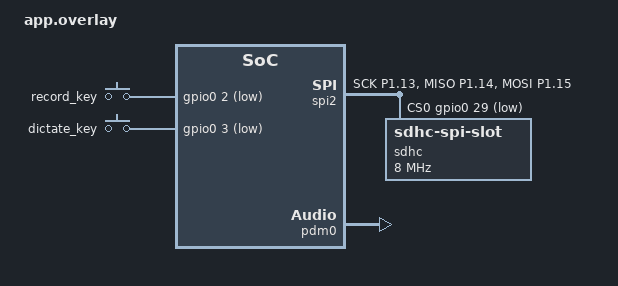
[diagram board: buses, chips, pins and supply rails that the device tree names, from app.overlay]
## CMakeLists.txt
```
cmake_minimum_required(VERSION 3.20.0)
find_package(Zephyr REQUIRED HINTS $ENV{ZEPHYR_BASE})
project(voicecard VERSION 1.0)
target_sources(app PRIVATE src/main.c src/storage.c src/codec.c src/link.c src/rtc.c)
```

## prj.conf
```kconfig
CONFIG_GPIO=y
CONFIG_I2C=y
CONFIG_SPI=y
CONFIG_AUDIO=y
CONFIG_AUDIO_DMIC=y
CONFIG_REGULATOR=y
CONFIG_DISK_ACCESS=y
CONFIG_DISK_DRIVER_SDMMC=y
CONFIG_SDMMC_STACK=y
CONFIG_FILE_SYSTEM=y
CONFIG_FAT_FILESYSTEM_ELM=y
CONFIG_FS_FATFS_LFN=y
CONFIG_FS_FATFS_MAX_LFN=128
CONFIG_FS_FATFS_EXFAT=n
CONFIG_FS_FATFS_NUM_FILES=10
CONFIG_FS_FATFS_NUM_DIRS=8
CONFIG_FS_FATFS_MKFS=n
CONFIG_USB_DEVICE_STACK=y
CONFIG_USB_CDC_ACM=y
CONFIG_SERIAL=y
CONFIG_UART_INTERRUPT_DRIVEN=y
CONFIG_CONSOLE=n
CONFIG_LOG=n
CONFIG_BT=y
CONFIG_BT_PERIPHERAL=y
CONFIG_BT_SMP=y
CONFIG_BT_SMP_APP_PAIRING_ACCEPT=y
CONFIG_BT_MAX_CONN=1
CONFIG_BT_MAX_PAIRED=1
CONFIG_BT_DEVICE_NAME="VoiceCard"
CONFIG_BT_L2CAP_TX_MTU=247
CONFIG_BT_BUF_ACL_RX_SIZE=251
CONFIG_BT_BUF_ACL_TX_SIZE=251
CONFIG_BT_CTLR_DATA_LENGTH_MAX=251
CONFIG_BT_GATT_CLIENT=y
CONFIG_FLASH=y
CONFIG_FLASH_MAP=y
CONFIG_NVS=y
CONFIG_SETTINGS=y
CONFIG_SETTINGS_NVS=y
CONFIG_BT_SETTINGS=y
CONFIG_HWINFO=y
CONFIG_CRC=y
CONFIG_BASE64=y
CONFIG_MBEDTLS=y
CONFIG_MBEDTLS_BUILTIN=y
CONFIG_MBEDTLS_SHA256=y
CONFIG_MAIN_STACK_SIZE=12288
CONFIG_SYSTEM_WORKQUEUE_STACK_SIZE=3072
CONFIG_HEAP_MEM_POOL_SIZE=8192
CONFIG_NEWLIB_LIBC=y
CONFIG_NEWLIB_LIBC_NANO=n
CONFIG_STATIC_INIT_GNU=y
CONFIG_UART_LINE_CTRL=y
CONFIG_REBOOT=y
CONFIG_ENTROPY_GENERATOR=y
CONFIG_TEST_RANDOM_GENERATOR=n
```

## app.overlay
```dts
#include <zephyr/dt-bindings/pinctrl/nrf-pinctrl.h>
#include <zephyr/dt-bindings/gpio/gpio.h>
/ {
  keys_voice {
    compatible = "gpio-keys";
    record_key: record { gpios = <&gpio0 2 (GPIO_PULL_UP | GPIO_ACTIVE_LOW)>; };
    dictate_key: dictate { gpios = <&gpio0 3 (GPIO_PULL_UP | GPIO_ACTIVE_LOW)>; };
  };
};
&pinctrl {
  vc_spi_default: vc_spi_default { group1 { psels = <NRF_PSEL(SPIM_SCK,1,13)>, <NRF_PSEL(SPIM_MISO,1,14)>, <NRF_PSEL(SPIM_MOSI,1,15)>; }; };
  vc_spi_sleep: vc_spi_sleep { group1 { psels = <NRF_PSEL(SPIM_SCK,1,13)>, <NRF_PSEL(SPIM_MISO,1,14)>, <NRF_PSEL(SPIM_MOSI,1,15)>; low-power-enable; }; };
};
&spi2 {
  compatible = "nordic,nrf-spim";
  status = "okay";
  pinctrl-0 = <&vc_spi_default>; pinctrl-1 = <&vc_spi_sleep>;
  pinctrl-names = "default", "sleep";
  cs-gpios = <&gpio0 29 GPIO_ACTIVE_LOW>;
  sdhc@0 {
    compatible = "zephyr,sdhc-spi-slot"; reg = <0>; status = "okay";
    spi-max-frequency = <8000000>;
    mmc { compatible = "zephyr,sdmmc-disk"; disk-name = "SD"; status = "okay"; };
  };
};
&pdm0 { status = "okay"; queue-size = <68>; };
&uart0 { status = "disabled"; };
```

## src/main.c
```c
#include "voice.h"
#include <zephyr/audio/dmic.h>
#include <zephyr/drivers/gpio.h>
#include <zephyr/drivers/regulator.h>
#include <zephyr/drivers/hwinfo.h>
#include <zephyr/random/random.h>
#include <stdio.h>
#include <stdlib.h>
#include <string.h>
char sid[17]="-",state[12]="IDLE",fault[25]="-",device_id[24];
uint64_t position;
bool linear,intent;
static bool recording,dictating,short_session;
static uint32_t utterance;
static int fill,index_ima;
static uint64_t cut_at;
static int64_t next_sync;
static int16_t samples[NSAMP];
/* Bare-metal newlib has no OS teardown or crt0 fini hook. */
__attribute__((weak)) void _fini(void) {}
static const struct device *mic=DEVICE_DT_GET(DT_NODELABEL(pdm0));
static const struct device *power=DEVICE_DT_GET(DT_PATH(msm261d3526hicpm_c_en));
static const struct gpio_dt_spec keys[]={GPIO_DT_SPEC_GET(DT_NODELABEL(record_key),gpios),GPIO_DT_SPEC_GET(DT_NODELABEL(dictate_key),gpios)};
static const struct gpio_dt_spec red=GPIO_DT_SPEC_GET(DT_ALIAS(led0),gpios),green=GPIO_DT_SPEC_GET(DT_ALIAS(led1),gpios);
K_MEM_SLAB_DEFINE_STATIC(slab,640,72,4);
static int phase(const char *s){strcpy(state,s);return store_state();}
static int capture_start(void){
    if(!device_is_ready(mic)||!device_is_ready(power)||regulator_enable(power))return -ENODEV;
    k_sleep(K_MSEC(10));
    struct pcm_stream_cfg stream={.pcm_rate=RATE,.pcm_width=16,.block_size=640,.mem_slab=&slab};
    struct dmic_cfg cfg={.io={.min_pdm_clk_freq=1000000,.max_pdm_clk_freq=3200000,.min_pdm_clk_dc=40,.max_pdm_clk_dc=60},.streams=&stream,
        .channel={.req_num_chan=1,.req_num_streams=1,.req_chan_map_lo=dmic_build_channel_map(0,0,PDM_CHAN_LEFT)}};
    int r=dmic_configure(mic,&cfg);if(!r)r=dmic_trigger(mic,DMIC_TRIGGER_START);if(r)regulator_disable(power);return r;
}
static void error_state(const char *reason){
    if(recording){
        dmic_trigger(mic,DMIC_TRIGGER_STOP);
        void *block;size_t length;
        while(!dmic_read(mic,0,&block,&length,0))k_mem_slab_free(&slab,block);
        regulator_disable(power);
    }
    if(dictating)close_utterance(utterance);
    recording=dictating=intent=false;strcpy(fault,reason);phase("ERROR");
    storage_detach();
    gpio_pin_set_dt(&green,0);gpio_pin_set_dt(&red,1);
}
static int start(bool resume){
    if(recording)return 0;
    bool retry=!strcmp(state,"ERROR");
    if(storage_mount()){error_state("DEVICE_UNAVAILABLE");return -1;}
    if(retry&&storage_recover()<0){error_state("CORRUPT");return -1;}
    strcpy(fault,"-");strcpy(state,"STARTING");intent=true;
    int r=storage_open(resume);
    if(r){error_state(r==-ENOSPC?"NO_SPACE":"WRITE_FAILED");return -1;}
    if(capture_start()){intent=false;storage_seal("mic_error");error_state("DEVICE_UNAVAILABLE");return -1;}
    recording=true;fill=index_ima=0;cut_at=position+RATE*300ULL;next_sync=k_uptime_get()+1000;
    if(phase("RECORDING")){error_state("WRITE_FAILED");return -1;}
    gpio_pin_set_dt(&red,0);gpio_pin_set_dt(&green,1);return 0;
}
static int flush_block(void){
    if(!fill)return 0;
    uint8_t data[ABYTES];index_ima=ima_encode(samples,fill,data,index_ima);
    uint64_t first=position;int r=storage_write(linear?(void*)samples:(void*)data,linear?fill*2:ABYTES,fill);
    if(!r&&dictating)link_audio(utterance,first,data);
    fill=0;return r;
}
static int consume(void *p,size_t n){
    int16_t *s=p;
    for(unsigned i=0;i<n/2;i++){
        samples[fill++]=s[i];
        if(fill==NSAMP){
            int r=flush_block();if(r)return r;
            if(position>=cut_at){r=storage_seal("segment");if(!r)r=storage_open(true);if(r)return r;cut_at=position+RATE*300ULL;}
        }
    }return 0;
}
static int stop(void){
    if(!recording)return 0;
    intent=false;phase("STOPPING");dmic_trigger(mic,DMIC_TRIGGER_STOP);
    void *p;size_t n;int r=0;
    while(!dmic_read(mic,0,&p,&n,0)){if(!r)r=consume(p,n);k_mem_slab_free(&slab,p);}
    if(!r)r=flush_block();if(dictating){close_utterance(utterance);link_end(utterance,position);}
    dictating=short_session=recording=false;regulator_disable(power);
    if(!r)r=storage_seal("stop");if(!r)r=phase("STOPPED");
    gpio_pin_set_dt(&green,0);if(r)error_state("WRITE_FAILED");return r;
}
static void key_event(int key,bool down){
    if(!key&&down){if(recording)stop();else start(false);}
    if(key&&down){
        if(dictating)return;short_session=!recording;if(short_session&&start(false))return;
        dictating=true;utterance=sys_rand32_get();archive_utterance(utterance);link_begin(utterance,position);
    }else if(key&&dictating&&!down){
        if(short_session){stop();return;}
        close_utterance(utterance);link_end(utterance,position);dictating=false;
    }
}
static char token[33];
static int64_t bind_until;
void physical_pair(void){bind_until=k_uptime_get()+30000;}
struct reply {char id[33],result[128],op[20];};
static struct reply history[16];static unsigned head;
void handle_cmd(bool usb,char *line,char *result,size_t size){
    char *save,*ver=strtok_r(line," ",&save),*id=strtok_r(NULL," ",&save),*auth=strtok_r(NULL," ",&save),*op=strtok_r(NULL," ",&save);
    char *a=strtok_r(NULL," ",&save),*b=strtok_r(NULL," ",&save);
    if(!op||!id||strlen(id)>32||strcmp(ver,"V1")){snprintf(result,size,"R - ERR INVALID");return;}
    int used=snprintf(result,size,"R %s ",id);char *out=result+used;size-=used;
    if(!strcmp(op,"pair")){
        if(!usb||bind_until<=k_uptime_get()||!a||strlen(a)!=32||strspn(a,"0123456789abcdef")!=32){strcpy(out,"ERR AUTH_REQUIRED");return;}
        if(secret_save(a)){strcpy(out,"ERR WRITE_FAILED");return;}
        strcpy(token,a);bind_until=0;link_rebind();strcpy(out,"OK bound");return;
    }
    if(!token[0]||strcmp(auth,token)){strcpy(out,"ERR AUTH_REQUIRED");return;}
    if(!strcmp(op,"start")||!strcmp(op,"stop")){
        for(int i=0;i<ARRAY_SIZE(history);i++)if(!strcmp(id,history[i].id)){
            strcpy(out,!strcmp(op,history[i].op)?history[i].result:"ERR INVALID");return;
        }
        int r=0;
        if(!strcmp(op,"stop")){if(!a||strcmp(a,sid)){strcpy(out,"ERR SESSION_MISMATCH");return;}r=stop();}
        else {if(!a||(strcmp(a,"ima")&&strcmp(a,"pcm16"))){strcpy(out,"ERR INVALID");return;}if(!recording)linear=!strcmp(a,"pcm16");r=start(false);}
        if(r)snprintf(out,size,"ERR %s",fault);else snprintf(out,size,"OK %s %s %lld",sid,state,(long long)clock_utc());
        struct reply *cache=&history[head++%ARRAY_SIZE(history)];strcpy(cache->id,id);strcpy(cache->op,op);strcpy(cache->result,out);return;
    }
    if(!strcmp(op,"status")){snprintf(out,size,"OK %s %s %s %llu %llu %lld %s",device_id,state,sid,(unsigned long long)position,(unsigned long long)storage_free(),(long long)clock_utc(),fault);return;}
    if(!strcmp(op,"time")){strcpy(out,a&&!clock_set(atoll(a))?"OK set":"ERR DEVICE_UNAVAILABLE");return;}
    if(!strcmp(op,"sub")){strcpy(out,"OK ima 16000 505");return;}
    if(!strcmp(op,"talk")||!strcmp(op,"block")){
        strcpy(out,"OK ");if(replay_op(op,a,b,out+3,size-3))strcpy(out,"ERR RANGE_UNAVAILABLE");return;
    }
    if(usb&&(!strcmp(op,"ls")||!strcmp(op,"get"))){strcpy(out,"OK ");if(file_op(op,a,b,out+3,size-3))strcpy(out,"ERR EXPORT_FAILED");return;}
    strcpy(out,"ERR INVALID");
}
int main(void){
    uint8_t id[8]={0};int len=hwinfo_get_device_id(id,sizeof(id));
    for(int i=0;i<len;i++)sprintf(device_id+2*i,"%02x",id[i]);
    for(int i=0;i<2;i++)gpio_pin_configure_dt(keys+i,GPIO_INPUT);
    gpio_pin_configure_dt(&green,GPIO_OUTPUT_INACTIVE);gpio_pin_configure_dt(&red,GPIO_OUTPUT_INACTIVE);
    if(storage_mount())error_state("DEVICE_UNAVAILABLE");
    else {int r=storage_recover();if(r<0)error_state("CORRUPT");else if(r>0)start(true);}
    link_init();secret_get(token,sizeof(token));
    unsigned stable=0,raw=0;int64_t change=0;bool chord=false;
    for(;;){
        unsigned now=gpio_pin_get_dt(keys)|(gpio_pin_get_dt(keys+1)<<1);
        if(now!=raw){raw=now;change=k_uptime_get();}
        if(raw!=stable&&k_uptime_get()-change>=40){
            if(raw==3){physical_pair();chord=true;}
            else if(!chord){for(int i=0;i<2;i++)if((raw^stable)&BIT(i))key_event(i,raw&BIT(i));}
            if(!raw)chord=false;stable=raw;
        }
        link_poll();
        if(!recording){k_sleep(K_MSEC(12));continue;}
        void *p;size_t n;int r=dmic_read(mic,0,&p,&n,100);
        if(r){error_state("DEVICE_UNAVAILABLE");continue;}
        r=consume(p,n);k_mem_slab_free(&slab,p);
        if(!r&&k_uptime_get()>=next_sync){r=storage_checkpoint();next_sync=k_uptime_get()+1000;}
        if(r)error_state(r==-ENOSPC?"NO_SPACE":"WRITE_FAILED");
    }
}
```

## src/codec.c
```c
#include "codec.h"
#include <string.h>
static const int steps[89]={7,8,9,10,11,12,13,14,16,17,19,21,23,25,28,31,34,37,41,45,50,55,60,66,73,80,88,97,107,118,130,143,157,173,190,209,230,253,279,307,337,371,408,449,494,544,598,658,724,796,876,963,1060,1166,1282,1411,1552,1707,1878,2066,2272,2499,2749,3024,3327,3660,4026,4428,4871,5358,5894,6484,7132,7845,8630,9493,10442,11487,12635,13899,15289,16818,18500,20350,22385,24623,27086,29794,32767};
static const int adjust[8]={-1,-1,-1,-1,2,4,6,8};
static int clip(int a,int lo,int hi){return a<lo?lo:a>hi?hi:a;}
static void le16(uint8_t *p,uint16_t n){p[0]=n;p[1]=n>>8;}
static void le32(uint8_t *p,uint32_t n){le16(p,n);le16(p+2,n>>16);}
int ima_encode(const int16_t *s,int count,uint8_t out[ABYTES],int ix){
    int pred=s[0]; le16(out,pred); out[2]=ix; out[3]=0;
    for(int i=1;i<NSAMP;i++){
        int delta=(int)s[i<count?i:count-1]-pred;
        int code=delta<0?8:0, step=steps[ix], diff=step>>3;
        if(delta<0)delta=-delta;
        for(int bit=4;bit;bit>>=1,step>>=1){
            if(delta>=step){delta-=step;diff+=step;code|=bit;}
        }
        pred=clip(pred+(code&8?-diff:diff),-32768,32767);
        ix=clip(ix+adjust[code&7],0,88);
        if(i&1)out[4+(i-1)/2]=code;else out[4+(i-1)/2]|=code<<4;
    }
    return ix;
}
size_t wav_header(uint8_t *p,int pcm,uint32_t bytes,uint32_t samples){
    size_t n=pcm?44:60; memset(p,0,n); memcpy(p,"RIFF",4); le32(p+4,bytes+n-8);
    memcpy(p+8,"WAVEfmt ",8);le32(p+16,pcm?16:20);le16(p+20,pcm?1:17);
    le16(p+22,1);le32(p+24,RATE);le32(p+28,pcm?RATE*2:8111);
    le16(p+32,pcm?2:ABYTES);le16(p+34,pcm?16:4);
    if(!pcm){le16(p+36,2);le16(p+38,NSAMP);memcpy(p+40,"fact",4);le32(p+44,4);le32(p+48,samples);}
    memcpy(p+n-8,"data",4);le32(p+n-4,bytes);return n;
}
```

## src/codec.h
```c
#pragma once
#include <stdint.h>
#include <stddef.h>
#define RATE 16000
#define NSAMP 505
#define ABYTES 256
int ima_encode(const int16_t *pcm, int count, unsigned char out[ABYTES], int index);
size_t wav_header(uint8_t *p, int pcm, uint32_t bytes, uint32_t samples);
```

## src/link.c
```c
#include "voice.h"
#include <zephyr/bluetooth/bluetooth.h>
#include <zephyr/bluetooth/conn.h>
#include <zephyr/bluetooth/gatt.h>
#include <zephyr/drivers/uart.h>
#include <zephyr/usb/usb_device.h>
#include <zephyr/settings/settings.h>
#include <zephyr/sys/crc.h>
#include <zephyr/sys/base64.h>
#include <zephyr/sys/ring_buffer.h>
#include <stdio.h>
#include <stdlib.h>
#include <string.h>
#define UUID(n) BT_UUID_DECLARE_128(BT_UUID_128_ENCODE(0x4cb30000+(n),0x7873,0x46d7,0x884a,0xb66c77636431ULL))
static const struct device *cdc=DEVICE_DT_GET(DT_NODELABEL(board_cdc_acm_uart));
static struct bt_conn *peer;
static atomic_t pair_deadline;
static enum bt_security_err accept_pair(struct bt_conn *c, const struct bt_conn_pairing_feat *const features){
    uint32_t deadline=(uint32_t)atomic_get(&pair_deadline);
    return deadline && (int32_t)(deadline-k_uptime_get_32())>0 ? BT_SECURITY_ERR_SUCCESS : BT_SECURITY_ERR_PAIR_NOT_ALLOWED;
}
static struct bt_conn_auth_cb auth_callbacks={.pairing_accept=accept_pair};
void link_rebind(void){
    bt_unpair(BT_ID_DEFAULT,BT_ADDR_LE_ANY);
    atomic_set(&pair_deadline,(atomic_val_t)(k_uptime_get_32()+120000));
}
static void paired(struct bt_conn *conn,bool bonded){atomic_clear(&pair_deadline);}
static struct bt_conn_auth_info_cb pair_info={.pairing_complete=paired};
static bool sub_usb,sub_ble;
K_MUTEX_DEFINE(peer_lock);
struct cmd {bool usb;char text[180];};
K_MSGQ_DEFINE(requests,sizeof(struct cmd),6,4);
struct parser {char line[180];size_t count;bool overflow;};
static struct parser parsers[2];
static void feed(bool usb,const uint8_t *p,size_t len){
    struct parser *s=&parsers[usb];
    for(size_t i=0;i<len;i++){
        if(p[i]=='\n'){if(!s->overflow&&s->count){struct cmd q={.usb=usb};memcpy(q.text,s->line,s->count);k_msgq_put(&requests,&q,K_NO_WAIT);}s->count=0;s->overflow=false;}
        else if(s->count<sizeof(s->line)-1)s->line[s->count++]=p[i];else s->overflow=true;
    }
}
static ssize_t control(struct bt_conn *c,const struct bt_gatt_attr *a,const void *b,uint16_t len,uint16_t off,uint8_t flags){
    if(off)return BT_GATT_ERR(BT_ATT_ERR_INVALID_OFFSET);feed(false,b,len);return len;
}
BT_GATT_SERVICE_DEFINE(service,BT_GATT_PRIMARY_SERVICE(UUID(0)),
    BT_GATT_CHARACTERISTIC(UUID(1),BT_GATT_CHRC_WRITE,BT_GATT_PERM_WRITE_ENCRYPT,NULL,control,NULL),
    BT_GATT_CHARACTERISTIC(UUID(2),BT_GATT_CHRC_NOTIFY,BT_GATT_PERM_NONE,NULL,NULL,NULL),
    BT_GATT_CCC(NULL,BT_GATT_PERM_READ_ENCRYPT|BT_GATT_PERM_WRITE_ENCRYPT));
static struct bt_data ads[]={BT_DATA_BYTES(BT_DATA_FLAGS,BT_LE_AD_GENERAL|BT_LE_AD_NO_BREDR),BT_DATA(BT_DATA_NAME_COMPLETE,"VoiceCard",9)};
static void advertise(struct k_work *w){bt_le_adv_start(BT_LE_ADV_CONN_FAST_1,ads,ARRAY_SIZE(ads),NULL,0);}
K_WORK_DEFINE(adv_work,advertise);
static void connected(struct bt_conn *c,uint8_t err){
    if(err)return;k_mutex_lock(&peer_lock,K_FOREVER);peer=bt_conn_ref(c);sub_ble=false;k_mutex_unlock(&peer_lock);
}
static void disconnected(struct bt_conn *c,uint8_t why){
    k_mutex_lock(&peer_lock,K_FOREVER);if(peer){bt_conn_unref(peer);peer=NULL;}sub_ble=false;memset(&parsers[0],0,sizeof(parsers[0]));k_mutex_unlock(&peer_lock);
}
static void recycled(void){k_work_submit(&adv_work);}
BT_CONN_CB_DEFINE(callbacks)={.connected=connected,.disconnected=disconnected,.recycled=recycled};
RING_BUF_DECLARE(tx,8192);
static void irq(const struct device *dev,void *unused){
    uart_irq_update(dev);
    if(uart_irq_rx_ready(dev)){uint8_t b[64];int n;while((n=uart_fifo_read(dev,b,sizeof(b)))>0)feed(true,b,n);}
    if(uart_irq_tx_ready(dev)){uint8_t *p;unsigned n=ring_buf_get_claim(&tx,&p,64);
        if(n){int sent=uart_fifo_fill(dev,p,n);ring_buf_get_finish(&tx,MAX(sent,0));}else uart_irq_tx_disable(dev);}
}
struct packet {bool usb;char data[1050];};
K_MSGQ_DEFINE(packets,sizeof(struct packet),8,4);
static void sender(void *a,void *b,void *d){
    struct packet pkt;
    for(;;){
        k_msgq_get(&packets,&pkt,K_FOREVER);size_t n=strlen(pkt.data);
        if(pkt.usb){unsigned key=irq_lock();if(ring_buf_space_get(&tx)>=n){ring_buf_put(&tx,pkt.data,n);uart_irq_tx_enable(cdc);}irq_unlock(key);continue;}
        k_mutex_lock(&peer_lock,K_FOREVER);struct bt_conn *c=peer?bt_conn_ref(peer):NULL;k_mutex_unlock(&peer_lock);
        if(c){size_t mtu=bt_gatt_get_mtu(c)-3;
            for(size_t i=0;i<n;i+=mtu)if(bt_gatt_notify(c,&service.attrs[4],pkt.data+i,MIN(mtu,n-i)))break;
            bt_conn_unref(c);
        }
    }
}
K_THREAD_DEFINE(tx_thread,3000,sender,NULL,NULL,NULL,5,0,0);
static void post(bool usb,const char *line){struct packet p={.usb=usb};snprintf(p.data,sizeof(p.data),"\n%s\n",line);k_msgq_put(&packets,&p,K_NO_WAIT);}
static int load_token(const char *key,size_t len,settings_read_cb read,void *arg,void *param){
    if(!key&&len==32)return read(arg,param,32)==32?0:-EIO;return 0;
}
int secret_get(char *s,size_t n){return settings_load_subtree_direct("voice/token",load_token,s);}
int secret_save(const char *s){sub_ble=sub_usb=false;return settings_save_one("voice/token",s,32);}
int link_init(void){
    int r=usb_enable(NULL);uart_irq_callback_user_data_set(cdc,irq,NULL);uart_irq_rx_enable(cdc);
    if(!bt_enable(NULL)){bt_conn_auth_cb_register(&auth_callbacks);bt_conn_auth_info_cb_register(&pair_info);settings_load();k_work_submit(&adv_work);}return r;
}
void link_poll(void){
    struct cmd q;char result[1024];uint32_t dtr=0;
    if(!uart_line_ctrl_get(cdc,UART_LINE_CTRL_DTR,&dtr)&&!dtr)sub_usb=false;
    if(k_msgq_get(&requests,&q,K_NO_WAIT))return;
    handle_cmd(q.usb,q.text,result,sizeof(result));
    if(strstr(result," OK ima 16000 505")){if(q.usb)sub_usb=true;else sub_ble=true;}
    post(q.usb,result);
}
void link_audio(uint32_t utt,uint64_t first,const uint8_t *data){
    if(!sub_usb&&!sub_ble)return;
    char line[465];size_t n;int k=snprintf(line,sizeof(line),"A %s %08x %llu %08x ",sid,utt,(unsigned long long)first,crc32_ieee(data,ABYTES));
    base64_encode(line+k,sizeof(line)-k,&n,data,ABYTES);line[k+n]=0;
    if(sub_usb)post(true,line);if(sub_ble)post(false,line);
}
void link_end(uint32_t utt,uint64_t first){
    char line[80];snprintf(line,sizeof(line),"E %s %08x %llu",sid,utt,(unsigned long long)first);
    if(sub_usb)post(true,line);if(sub_ble)post(false,line);
}
void link_begin(uint32_t utt,uint64_t first){
    char line[80];snprintf(line,sizeof(line),"B %s %08x %llu",sid,utt,(unsigned long long)first);
    if(sub_usb)post(true,line);if(sub_ble)post(false,line);
}
```

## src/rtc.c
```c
#include "voice.h"
#include <zephyr/drivers/i2c.h>
#include <zephyr/sys/timeutil.h>
#include <time.h>
static const struct device *bus=DEVICE_DT_GET(DT_NODELABEL(i2c1));
static int dec(int b){return (b>>4)*10+(b&15);}
static int bcd(int n){return ((n/10)<<4)+(n%10);}
int64_t clock_utc(void){
    uint8_t r[7];
    if(!device_is_ready(bus)||i2c_burst_read(bus,0x51,2,r,7)||(r[0]&128))return 0;
    struct tm t={.tm_sec=dec(r[0]&127),.tm_min=dec(r[1]&127),.tm_hour=dec(r[2]&63),.tm_mday=dec(r[3]&63),.tm_mon=dec(r[5]&31)-1,.tm_year=100+dec(r[6])};
    if(t.tm_year<124||t.tm_mon<0||t.tm_mon>11||t.tm_mday<1||t.tm_mday>31||t.tm_hour>23||t.tm_min>59||t.tm_sec>59)return 0;
    return timeutil_timegm64(&t);
}
int clock_set(int64_t epoch){
    if(epoch<1704067200LL||epoch>=4102444800LL)return -EINVAL;
    time_t tt=epoch;struct tm t;gmtime_r(&tt,&t);
    uint8_t r[]={2,bcd(t.tm_sec),bcd(t.tm_min),bcd(t.tm_hour),bcd(t.tm_mday),t.tm_wday,bcd(t.tm_mon+1),bcd(t.tm_year-100)};
    return i2c_write(bus,r,sizeof(r),0x51);
}
```

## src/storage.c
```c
#include "voice.h"
#include <zephyr/fs/fs.h>
#include <zephyr/storage/disk_access.h>
#include <zephyr/sys/crc.h>
#include <zephyr/sys/base64.h>
#include <zephyr/random/random.h>
#include <mbedtls/sha256.h>
#include <ff.h>
#include <errno.h>
#include <stdio.h>
#include <stdlib.h>
#include <string.h>
#include <time.h>
#include <ctype.h>
static FATFS fat;
static struct fs_mount_t mountpoint={.type=FS_FATFS,.mnt_point="/SD:",.fs_data=&fat,.flags=FS_MOUNT_FLAG_NO_FORMAT};
static struct fs_file_t wav;
static bool mounted,opened;
static uint8_t io[4096];
static char leased[PATHLEN];
static int64_t lease_until;
struct journal {
    uint32_t version,seq;
    char directory[80],id[17],phase[12],error[25];
    uint32_t part,bytes,samples,rolling;
    uint64_t first;
    int64_t utc;
    uint8_t pcm,want,pending;
    uint32_t crc;
};
static struct journal j;
/* The most recent push-to-talk ranges refer to the original WAV blocks. */
#define TALK_SLOTS 16
#define SEG_SAMPLES (((300U*RATE+NSAMP-1)/NSAMP)*NSAMP)
struct talk_range {
    char uid[26],dir[80];
    uint64_t begin,end,part_first;
    uint32_t part;
    bool pcm,closed;
};
static struct talk_range talks[TALK_SLOTS];
static unsigned talk_count;
void archive_utterance(uint32_t id){
    struct talk_range *t=&talks[talk_count++%TALK_SLOTS];
    snprintf(t->uid,sizeof(t->uid),"%s-%08x",sid,id);
    strcpy(t->dir,j.directory);
    t->begin=position;t->end=position;t->part_first=j.first;t->part=j.part;t->pcm=linear;t->closed=false;
}
void close_utterance(uint32_t id){
    if(talk_count){struct talk_range *t=&talks[(talk_count-1)%TALK_SLOTS];t->end=position;t->closed=true;}
}
int replay_op(const char *op,const char *uid,const char *sample,char *out,size_t cap){
    if(!talk_count)return -ENOENT;
    struct talk_range *t=NULL;
    if(!uid||!strcmp(uid,"latest"))t=&talks[(talk_count-1)%TALK_SLOTS];
    else for(unsigned i=0;i<TALK_SLOTS;i++)if(!strcmp(talks[i].uid,uid)){t=&talks[i];break;}
    if(!t)return -ENOENT;
    uint64_t end=t->closed?t->end:position;
    if(!strcmp(op,"talk")){
        snprintf(out,cap,"%s %llu %llu %u",t->uid,(unsigned long long)t->begin,(unsigned long long)end,t->closed);
        return 0;
    }
    if(!sample||!*sample||strspn(sample,"0123456789")!=strlen(sample))return -EINVAL;
    uint64_t pos=strtoull(sample,NULL,10);
    if(pos<t->begin||pos>=end||(pos-t->begin)%NSAMP)return -ERANGE;
    uint64_t relative=pos-t->part_first;
    unsigned part=t->part+relative/SEG_SAMPLES;
    uint32_t within=relative%SEG_SAMPLES;
    bool active=opened&&part==j.part&&!strcmp(t->dir,j.directory);
    char path[PATHLEN];snprintf(path,sizeof(path),"%s/%04u.%s",t->dir,part,active?"part":"wav");
    struct fs_file_t reader;fs_file_t_init(&reader);
    struct fs_file_t *f=active?&wav:&reader;
    off_t saved=0;
    if(active){saved=fs_tell(f);if(saved<0)return -EIO;}
    else if(fs_open(f,path,FS_O_READ))return -ENOENT;
    int16_t pcm[NSAMP];uint8_t encoded[ABYTES];
    unsigned count=MIN((uint64_t)NSAMP,end-pos);
    size_t len=t->pcm?2*count:ABYTES;
    off_t at=t->pcm?44+within*2:60+(within/NSAMP)*ABYTES;
    int r=fs_seek(f,at,FS_SEEK_SET);
    if(!r&&fs_read(f,t->pcm?(void*)pcm:(void*)encoded,len)!=(ssize_t)len)r=-EIO;
    if(active){if(fs_seek(f,saved,FS_SEEK_SET))r=-EIO;}else fs_close(f);
    if(r)return r;
    if(t->pcm)ima_encode(pcm,count,encoded,0);
    size_t n;int prefix=snprintf(out,cap,"%08x ",crc32_ieee(encoded,ABYTES));
    if(base64_encode(out+prefix,cap-prefix,&n,encoded,ABYTES))return -EIO;
    out[prefix+n]=0;return 0;
}
void storage_detach(void){
    if(opened){fs_close(&wav);opened=false;}
    if(mounted && !fs_unmount(&mountpoint))mounted=false;
    if(!mounted){memset(&j,0,sizeof(j));talk_count=0;memset(talks,0,sizeof(talks));}
}
static char pathname[PATHLEN];
static void path_for(char *p,const char *ext){snprintf(p,PATHLEN,"%s/%04u.%s",j.directory,j.part,ext);}
static int ensure_dir(char *s){
    struct fs_dirent e;
    if(!fs_stat(s,&e))return e.type==FS_DIR_ENTRY_DIR?0:-ENOTDIR;
    return fs_mkdir(s);
}
static int file_put(const char *p,const void *data,size_t n){
    struct fs_file_t f;fs_file_t_init(&f);
    int r=fs_open(&f,p,FS_O_CREATE|FS_O_WRITE|FS_O_TRUNC);if(r)return r;
    r=fs_write(&f,data,n)==n?fs_sync(&f):-EIO;int c=fs_close(&f);return r?r:c;
}
int store_state(void){
    if(!mounted)return -ENODEV;
    j.version=1;j.seq++;j.pcm=linear;j.want=intent;
    snprintf(j.phase,sizeof(j.phase),"%s",state);snprintf(j.error,sizeof(j.error),"%s",fault);
    j.crc=crc32_ieee((uint8_t*)&j,offsetof(struct journal,crc));
    return file_put((j.seq&1)?"/SD:/VC1.BIN":"/SD:/VC0.BIN",&j,sizeof(j));
}
int storage_mount(void){
    if(mounted)return 0;
    int r=fs_mount(&mountpoint);if(r)return r;
    mounted=true;fs_file_t_init(&wav);return ensure_dir(ROOT);
}
uint64_t storage_free(void){struct fs_statvfs s;return fs_statvfs("/SD:",&s)?0:(uint64_t)s.f_frsize*s.f_bfree;}
struct victim {char path[PATHLEN];int64_t end;};
/* A sealed segment has a small companion retention stamp. Use its end UTC,
   never FAT modification time. Bounded depth matches REC/YYYY/MM/DD/SID. */
static int oldest(const char *folder,int depth,int64_t cutoff,struct victim *v){
    if(depth>4)return 0;
    struct fs_dir_t d;struct fs_dirent e;fs_dir_t_init(&d);
    int r=fs_opendir(&d,folder);if(r)return r;
    while(!(r=fs_readdir(&d,&e))&&e.name[0]){
        char p[PATHLEN];if(snprintf(p,sizeof(p),"%s/%s",folder,e.name)>=(int)sizeof(p))continue;
        if(e.type==FS_DIR_ENTRY_DIR){if(strcmp(e.name,"UNSYNCED")){r=oldest(p,depth+1,cutoff,v);if(r)break;}continue;}
        char *ext=strrchr(p,'.');if(!ext||strcmp(ext,".end"))continue;
        struct fs_file_t f;fs_file_t_init(&f);int64_t end=0;
        if(!fs_open(&f,p,FS_O_READ)){int n=fs_read(&f,&end,sizeof(end));fs_close(&f);if(n!=sizeof(end))continue;}
        strcpy(ext,".wav");
        if(end>0&&end<cutoff&&end<v->end&&!(k_uptime_get()<lease_until&&!strcmp(leased,p))){
            strcpy(v->path,p);v->end=end;
        }
    }
    fs_closedir(&d);return r;
}
int storage_space(void){
    while(storage_free()<512ULL*1024*1024){
        int64_t now=clock_utc();if(!now)return -ENOSPC;
        struct victim v={.end=INT64_MAX};int r=oldest(ROOT,0,now-48*3600,&v);
        if(r)return r;if(!v.path[0])return -ENOSPC;
        r=fs_unlink(v.path);if(r&&r!=-ENOENT)return r;
        char *ext=strrchr(v.path,'.');strcpy(ext,".json");fs_unlink(v.path);strcpy(ext,".end");if(fs_unlink(v.path))return -EIO;
    }
    return 0;
}
int storage_open(bool resume){
    if(opened)return -EBUSY;
    int r=storage_space();if(r)return r;
    if(!resume){
        uint32_t a=sys_rand32_get(),b=sys_rand32_get();
        snprintf(sid,17,"%08x%08x",a,b);strcpy(j.id,sid);
        int64_t now=clock_utc();char date[20]="UNSYNCED";
        if(now){time_t epoch=now;struct tm t;gmtime_r(&epoch,&t);strftime(date,sizeof(date),"%Y/%m/%d",&t);}
        snprintf(j.directory,sizeof(j.directory),ROOT "/%s/%s",date,sid);
        for(char *p=j.directory+strlen(ROOT)+1;*p;p++)if(*p=='/'){*p=0;r=ensure_dir(j.directory);*p='/';if(r)return r;}
        r=fs_mkdir(j.directory);if(r)return r;j.part=0;position=0;
    }
    j.part++;j.first=position;j.bytes=j.samples=j.rolling=0;j.utc=clock_utc();
    path_for(pathname,"part");r=fs_open(&wav,pathname,FS_O_CREATE|FS_O_WRITE|FS_O_READ);
    if(r)return r;opened=true;
    uint8_t h[60];size_t n=wav_header(h,linear,0,0);
    if(fs_write(&wav,h,n)!=n||fs_sync(&wav)){fs_close(&wav);opened=false;return -EIO;}
    j.pending=1;return store_state();
}
int storage_write(const void *data,unsigned bytes,unsigned samples){
    if(!opened||fs_write(&wav,data,bytes)!=bytes)return -EIO;
    j.rolling=crc32_ieee_update(j.rolling,data,bytes);
    j.bytes+=bytes;j.samples+=samples;position+=samples;return 0;
}
int storage_checkpoint(void){return !opened||fs_sync(&wav)?-EIO:store_state();}
int storage_seal(const char *why){
    if(!opened)return 0;
    int r=storage_checkpoint();uint8_t h[60],digest[32];size_t hn=wav_header(h,linear,j.bytes,j.samples);
    if(!r&&(fs_seek(&wav,0,FS_SEEK_SET)||fs_write(&wav,h,hn)!=hn||fs_sync(&wav)||fs_seek(&wav,0,FS_SEEK_SET)))r=-EIO;
    mbedtls_sha256_context sha;mbedtls_sha256_init(&sha);mbedtls_sha256_starts(&sha,0);
    ssize_t n=0;while(!r&&(n=fs_read(&wav,io,sizeof(io)))>0)mbedtls_sha256_update(&sha,io,n);
    if(n<0)r=n;mbedtls_sha256_finish(&sha,digest);mbedtls_sha256_free(&sha);
    if(fs_close(&wav)&&!r)r=-EIO;opened=false;if(r)return r;
    char name[PATHLEN],hex[65],meta[680];path_for(name,"wav");
    for(int i=0;i<32;i++)sprintf(hex+i*2,"%02x",digest[i]);
    int len=snprintf(meta,sizeof(meta),"{\"version\":1,\"firmware\":\"1.0\",\"device_id\":\"%s\",\"session_id\":\"%s\",\"segment\":%u,\"file\":\"%04u.wav\",\"utc\":%lld,\"clock_trusted\":%s,\"codec\":\"%s\",\"rate\":16000,\"channels\":1,\"first_sample\":%llu,\"samples\":%u,\"bytes\":%u,\"sha256\":\"%s\",\"reason\":\"%s\",\"gap_after\":\"%s\"}\n",
        device_id,j.id,j.part,j.part,(long long)j.utc,j.utc?"true":"false",linear?"pcm16":"ima",(unsigned long long)j.first,j.samples,(unsigned)(j.bytes+hn),hex,why,strcmp(why,"power_loss")?"none":"unknown");
    char temp[PATHLEN],final[PATHLEN];path_for(temp,"tmp");path_for(final,"json");
    if((r=file_put(temp,meta,len)))return r;
    if(strcmp(pathname,name)&&(r=fs_rename(pathname,name)))return r;
    if((r=fs_rename(temp,final)))return r;
    int64_t end=j.utc?j.utc+(j.samples+RATE-1)/RATE:0;path_for(temp,"end");
    if((r=file_put(temp,&end,sizeof(end))))return r;
    j.pending=0;return store_state();
}
int storage_recover(void){
    struct journal candidate;
    for(int i=0;i<2;i++){
        struct fs_file_t f;fs_file_t_init(&f);
        if(fs_open(&f,i?"/SD:/VC1.BIN":"/SD:/VC0.BIN",FS_O_READ))continue;
        int n=fs_read(&f,&candidate,sizeof(candidate));fs_close(&f);
        if(n==sizeof(candidate)&&candidate.version==1&&candidate.crc==crc32_ieee((uint8_t*)&candidate,offsetof(struct journal,crc))&&candidate.seq>j.seq)j=candidate;
    }
    if(!j.seq)return 0;
    linear=j.pcm;intent=j.want;strcpy(sid,j.id);position=j.first+j.samples;
    if(!j.pending){strcpy(state,j.phase);strcpy(fault,j.error);return intent?1:0;}
    path_for(pathname,"part");int r=fs_open(&wav,pathname,FS_O_READ|FS_O_WRITE);
    if(r==-ENOENT){path_for(pathname,"wav");r=fs_open(&wav,pathname,FS_O_READ|FS_O_WRITE);}
    if(r)return r;
    size_t hn=linear?44:60;uint32_t crc=0,left=j.bytes;
    if(fs_seek(&wav,hn,FS_SEEK_SET))r=-EIO;
    while(left&&!r){size_t want=MIN(left,sizeof(io));if(fs_read(&wav,io,want)!=want){r=-EBADMSG;break;}crc=crc32_ieee_update(crc,io,want);left-=want;}
    if(crc!=j.rolling)r=-EBADMSG;
    if(!r)r=fs_truncate(&wav,hn+j.bytes);
    if(r){fs_close(&wav);return r;}
    opened=true;r=storage_seal("power_loss");return r?r:(intent?1:0);
}
int file_op(const char *op,const char *rel,const char *offset,char *out,size_t cap){
    if(!rel||!offset||strlen(rel)>75||strstr(rel,"..")||rel[0]=='/'||strspn(rel,"0123456789abcdefghijklmnopqrstuvwxyzABCDEFGHIJKLMNOPQRSTUVWXYZ._/")!=strlen(rel))return -EINVAL;
    char p[PATHLEN];snprintf(p,sizeof(p),ROOT "/%s",!strcmp(rel,".")?"":rel);
    unsigned long off=strtoul(offset,NULL,10);
    if(!strcmp(op,"ls")){
        if(!strcmp(rel,"."))strcpy(p,ROOT);
        struct fs_dir_t d;struct fs_dirent e;fs_dir_t_init(&d);int r=fs_opendir(&d,p);if(r)return r;
        do {r=fs_readdir(&d,&e);if(r||!e.name[0])break;}while(off--);
        fs_closedir(&d);if(r)return r;
        if(e.name[0])snprintf(out,cap,"%c %s",e.type==FS_DIR_ENTRY_DIR?'D':'F',e.name);else strcpy(out,"END");return 0;
    }
    char *ext=strrchr(p,'.');if(!ext||(strcmp(ext,".json")&&strcmp(ext,".wav")))return -EINVAL;
    struct fs_file_t f;fs_file_t_init(&f);int r=fs_open(&f,p,FS_O_READ);if(r)return r;
    strcpy(leased,p);lease_until=k_uptime_get()+60000;
    r=fs_seek(&f,off,FS_SEEK_SET);int n=r?r:fs_read(&f,io,720);fs_close(&f);if(n<0)return n;
    size_t used;snprintf(out,cap,"%08x ",crc32_ieee(io,n));if(base64_encode(out+9,cap-9,&used,io,n))return -EIO;out[9+used]=0;return 0;
}
```

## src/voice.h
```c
#pragma once
#include <zephyr/kernel.h>
#include <stdint.h>
#include <stdbool.h>
#include "codec.h"
#define ROOT "/SD:/REC"
#define PATHLEN 110
extern char sid[17], state[12], fault[25], device_id[24];
extern uint64_t position;
extern bool linear, intent;
int64_t clock_utc(void);
int clock_set(int64_t epoch);
int storage_mount(void);
void storage_detach(void);
void archive_utterance(uint32_t id);
void close_utterance(uint32_t id);
int replay_op(const char *op,const char *uid,const char *sample,char *out,size_t cap);
int storage_open(bool resume);
int storage_write(const void *data,unsigned len,unsigned samples);
int storage_seal(const char *reason);
int storage_checkpoint(void);
int storage_recover(void);
int store_state(void);
uint64_t storage_free(void);
int storage_space(void);
int file_op(const char *op,const char *rel,const char *offset,char *out,size_t cap);
int link_init(void);
void link_poll(void);
void link_audio(uint32_t utt,uint64_t first,const uint8_t *data);
void link_end(uint32_t utt,uint64_t first);
void link_begin(uint32_t utt,uint64_t first);
void handle_cmd(bool usb,char *line,char *result,size_t size);
void physical_pair(void);
void link_rebind(void);
int secret_get(char *s,size_t n);
int secret_save(const char *s);
```
